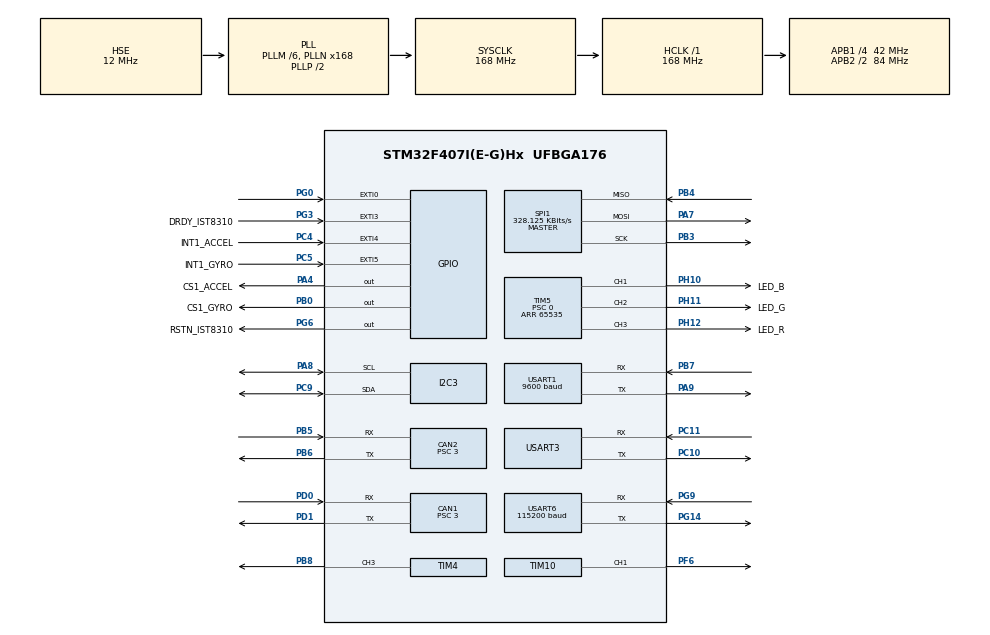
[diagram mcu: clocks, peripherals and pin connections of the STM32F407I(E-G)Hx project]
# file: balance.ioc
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CAN1.BS1=CAN_BS1_10TQ
CAN1.BS2=CAN_BS2_3TQ
CAN1.CalculateBaudRate=1000000
CAN1.CalculateTimeBit=1000
CAN1.CalculateTimeQuantum=71.42857142857143
CAN1.Prescaler=3
CAN2.BS1=CAN_BS1_10TQ
CAN2.BS2=CAN_BS2_3TQ
CAN2.CalculateBaudRate=1000000
CAN2.CalculateTimeBit=1000
CAN2.CalculateTimeQuantum=71.42857142857143
CAN2.Prescaler=3
Dma.Request0=SPI1_RX
Dma.Request1=SPI1_TX
Dma.Request2=USART3_RX
Dma.Request3=USART6_TX
Dma.Request4=USART1_TX
Dma.SPI1_RX.0.Direction=DMA_PERIPH_TO_MEMORY
Dma.SPI1_RX.0.FIFOMode=DMA_FIFOMODE_DISABLE
Dma.SPI1_RX.0.Instance=DMA2_Stream2
Dma.SPI1_RX.0.MemDataAlignment=DMA_MDATAALIGN_BYTE
Dma.SPI1_RX.0.MemInc=DMA_MINC_ENABLE
Dma.SPI1_RX.0.Mode=DMA_NORMAL
Dma.SPI1_RX.0.PeriphDataAlignment=DMA_PDATAALIGN_BYTE
Dma.SPI1_RX.0.PeriphInc=DMA_PINC_DISABLE
Dma.SPI1_RX.0.Priority=DMA_PRIORITY_VERY_HIGH
Dma.SPI1_TX.1.Direction=DMA_MEMORY_TO_PERIPH
Dma.SPI1_TX.1.FIFOMode=DMA_FIFOMODE_DISABLE
Dma.SPI1_TX.1.Instance=DMA2_Stream3
Dma.SPI1_TX.1.MemDataAlignment=DMA_MDATAALIGN_BYTE
Dma.SPI1_TX.1.MemInc=DMA_MINC_ENABLE
Dma.SPI1_TX.1.Mode=DMA_NORMAL
Dma.SPI1_TX.1.PeriphDataAlignment=DMA_PDATAALIGN_BYTE
Dma.SPI1_TX.1.PeriphInc=DMA_PINC_DISABLE
Dma.SPI1_TX.1.Priority=DMA_PRIORITY_HIGH
Dma.USART1_TX.4.Direction=DMA_MEMORY_TO_PERIPH
Dma.USART1_TX.4.FIFOMode=DMA_FIFOMODE_DISABLE
Dma.USART1_TX.4.Instance=DMA2_Stream7
Dma.USART1_TX.4.MemDataAlignment=DMA_MDATAALIGN_BYTE
Dma.USART1_TX.4.MemInc=DMA_MINC_ENABLE
Dma.USART1_TX.4.Mode=DMA_NORMAL
Dma.USART1_TX.4.PeriphDataAlignment=DMA_PDATAALIGN_BYTE
Dma.USART1_TX.4.PeriphInc=DMA_PINC_DISABLE
Dma.USART1_TX.4.Priority=DMA_PRIORITY_LOW
Dma.USART3_RX.2.Direction=DMA_PERIPH_TO_MEMORY
Dma.USART3_RX.2.FIFOMode=DMA_FIFOMODE_DISABLE
Dma.USART3_RX.2.Instance=DMA1_Stream1
Dma.USART3_RX.2.MemDataAlignment=DMA_MDATAALIGN_BYTE
Dma.USART3_RX.2.MemInc=DMA_MINC_ENABLE
Dma.USART3_RX.2.Mode=DMA_NORMAL
Dma.USART3_RX.2.PeriphDataAlignment=DMA_PDATAALIGN_BYTE
Dma.USART3_RX.2.PeriphInc=DMA_PINC_DISABLE
Dma.USART3_RX.2.Priority=DMA_PRIORITY_HIGH
Dma.USART6_TX.3.Direction=DMA_MEMORY_TO_PERIPH
Dma.USART6_TX.3.FIFOMode=DMA_FIFOMODE_DISABLE
Dma.USART6_TX.3.Instance=DMA2_Stream6
Dma.USART6_TX.3.MemDataAlignment=DMA_MDATAALIGN_BYTE
Dma.USART6_TX.3.MemInc=DMA_MINC_ENABLE
Dma.USART6_TX.3.Mode=DMA_NORMAL
Dma.USART6_TX.3.PeriphDataAlignment=DMA_PDATAALIGN_BYTE
Dma.USART6_TX.3.PeriphInc=DMA_PINC_DISABLE
Dma.USART6_TX.3.Priority=DMA_PRIORITY_LOW
FREERTOS.INCLUDE_eTaskGetState=1
FREERTOS.INCLUDE_pcTaskGetTaskName=1
FREERTOS.INCLUDE_uxTaskGetStackHighWaterMark=1
FREERTOS.INCLUDE_vTaskCleanUpResources=1
FREERTOS.INCLUDE_vTaskDelayUntil=1
FREERTOS.INCLUDE_xEventGroupSetBitFromISR=1
FREERTOS.INCLUDE_xQueueGetMutexHolder=1
FREERTOS.INCLUDE_xSemaphoreGetMutexHolder=1
FREERTOS.INCLUDE_xTaskAbortDelay=1
FREERTOS.INCLUDE_xTaskGetCurrentTaskHandle=1
FREERTOS.INCLUDE_xTaskGetHandle=1
FREERTOS.INCLUDE_xTimerPendFunctionCall=1
FREERTOS.Tasks01=test,24,128,test_task,As weak,NULL,Dynamic,NULL,NULL
FREERTOS.configTOTAL_HEAP_SIZE=24576
I2C3.I2C_Mode=I2C_Fast
Mcu.Family=STM32F4
Mcu.Name=STM32F407I(E-G)Hx
Mcu.Package=UFBGA176
NVIC.CAN1_RX0_IRQn=true\:6\:0\:true\:false\:true\:true\:true\:true\:true
NVIC.CAN2_RX0_IRQn=true\:6\:0\:true\:false\:true\:true\:true\:true\:true
NVIC.DMA1_Stream1_IRQn=true\:5\:0\:false\:false\:true\:true\:false\:true\:true
NVIC.DMA2_Stream2_IRQn=true\:5\:0\:true\:false\:false\:true\:false\:true\:true
NVIC.DMA2_Stream3_IRQn=true\:5\:0\:true\:false\:false\:true\:false\:true\:true
NVIC.DMA2_Stream6_IRQn=true\:5\:0\:false\:false\:true\:true\:false\:true\:true
NVIC.DMA2_Stream7_IRQn=true\:5\:0\:false\:false\:true\:true\:false\:true\:true
NVIC.EXTI0_IRQn=true\:6\:0\:true\:false\:true\:true\:true\:true\:true
NVIC.EXTI3_IRQn=true\:5\:0\:true\:false\:true\:true\:true\:true\:true
NVIC.EXTI4_IRQn=true\:5\:0\:true\:false\:true\:true\:true\:true\:true
NVIC.EXTI9_5_IRQn=true\:5\:0\:true\:false\:true\:true\:true\:true\:true
NVIC.PriorityGroup=NVIC_PRIORITYGROUP_4
NVIC.USART1_IRQn=true\:5\:0\:false\:false\:true\:true\:true\:true\:true
NVIC.USART3_IRQn=true\:4\:0\:true\:false\:true\:false\:true\:true\:true
NVIC.USART6_IRQn=true\:5\:0\:false\:false\:true\:true\:true\:true\:true
PA13.Mode=Serial_Wire
PA13.Signal=SYS_JTMS-SWDIO
PA14.Mode=Serial_Wire
PA14.Signal=SYS_JTCK-SWCLK
PA4.GPIO_Label=CS1_ACCEL
PA4.GPIO_PuPd=GPIO_PULLUP
PA4.GPIO_Speed=GPIO_SPEED_FREQ_HIGH
PA4.PinState=GPIO_PIN_SET
PA4.Signal=GPIO_Output
PA7.GPIO_PuPd=GPIO_PULLUP
PA7.Mode=Full_Duplex_Master
PA7.Signal=SPI1_MOSI
PA8.GPIO_Pu=GPIO_PULLUP
PA8.Mode=I2C
PA8.Signal=I2C3_SCL
PA9.Mode=Asynchronous
PA9.Signal=USART1_TX
PB0.GPIO_Label=CS1_GYRO
PB0.GPIO_PuPd=GPIO_PULLUP
PB0.GPIO_Speed=GPIO_SPEED_FREQ_HIGH
PB0.PinState=GPIO_PIN_SET
PB0.Signal=GPIO_Output
PB3.GPIO_PuPd=GPIO_PULLUP
PB3.Mode=Full_Duplex_Master
PB3.Signal=SPI1_SCK
PB4.GPIO_PuPd=GPIO_PULLUP
PB4.Mode=Full_Duplex_Master
PB4.Signal=SPI1_MISO
PB5.Mode=CAN_Activate
PB5.Signal=CAN2_RX
PB6.Mode=CAN_Activate
PB6.Signal=CAN2_TX
PB7.Mode=Asynchronous
PB7.Signal=USART1_RX
PB8.Signal=S_TIM4_CH3
PC10.Mode=Asynchronous
PC10.Signal=USART3_TX
PC11.Mode=Asynchronous
PC11.Signal=USART3_RX
PC4.GPIO_Label=INT1_ACCEL
PC4.GPIO_ModeDefaultEXTI=GPIO_MODE_IT_FALLING
PC4.GPIO_PuPd=GPIO_PULLUP
PC4.Signal=GPXTI4
PC5.GPIO_Label=INT1_GYRO
PC5.GPIO_ModeDefaultEXTI=GPIO_MODE_IT_FALLING
PC5.GPIO_PuPd=GPIO_PULLUP
PC5.Signal=GPXTI5
PC9.GPIO_Pu=GPIO_PULLUP
PC9.Mode=I2C
PC9.Signal=I2C3_SDA
PD0.Mode=CAN_Activate
PD0.Signal=CAN1_RX
PD1.Mode=CAN_Activate
PD1.Signal=CAN1_TX
PF6.GPIO_PuPd=GPIO_PULLUP
PF6.GPIO_Speed=GPIO_SPEED_FREQ_HIGH
PF6.Signal=S_TIM10_CH1
PG0.GPIO_ModeDefaultEXTI=GPIO_MODE_IT_FALLING
PG0.GPIO_PuPd=GPIO_PULLUP
PG0.Signal=GPXTI0
PG14.Mode=Asynchronous
PG14.Signal=USART6_TX
PG3.GPIO_Label=DRDY_IST8310
PG3.GPIO_ModeDefaultEXTI=GPIO_MODE_IT_FALLING
PG3.GPIO_PuPd=GPIO_PULLUP
PG3.Signal=GPXTI3
PG6.GPIO_Label=RSTN_IST8310
PG6.GPIO_PuPd=GPIO_PULLUP
PG6.GPIO_Speed=GPIO_SPEED_FREQ_MEDIUM
PG6.PinState=GPIO_PIN_SET
PG6.Signal=GPIO_Output
PG9.Mode=Asynchronous
PG9.Signal=USART6_RX
PH0-OSC_IN.Mode=HSE-External-Oscillator
PH0-OSC_IN.Signal=RCC_OSC_IN
PH1-OSC_OUT.Mode=HSE-External-Oscillator
PH1-OSC_OUT.Signal=RCC_OSC_OUT
PH10.GPIO_Label=LED_B
PH10.GPIO_PuPd=GPIO_PULLUP
PH10.GPIO_Speed=GPIO_SPEED_FREQ_HIGH
PH10.Signal=S_TIM5_CH1
PH11.GPIO_Label=LED_G
PH11.GPIO_PuPd=GPIO_PULLUP
PH11.GPIO_Speed=GPIO_SPEED_FREQ_HIGH
PH11.Signal=S_TIM5_CH2
PH12.GPIO_Label=LED_R
PH12.GPIO_PuPd=GPIO_PULLUP
PH12.GPIO_Speed=GPIO_SPEED_FREQ_HIGH
PH12.Signal=S_TIM5_CH3
ProjectManager.HeapSize=0x2000
ProjectManager.StackSize=0x2000
ProjectManager.TargetToolchain=MDK-ARM V5
RCC.48MHZClocksFreq_Value=48000000
RCC.AHBFreq_Value=168000000
RCC.APB1CLKDivider=RCC_HCLK_DIV4
RCC.APB1Freq_Value=42000000
RCC.APB1TimFreq_Value=84000000
RCC.APB2CLKDivider=RCC_HCLK_DIV2
RCC.APB2Freq_Value=84000000
RCC.APB2TimFreq_Value=168000000
RCC.CortexFreq_Value=168000000
RCC.HCLKFreq_Value=168000000
RCC.HSE_VALUE=12000000
RCC.HSI_VALUE=16000000
RCC.LSE_VALUE=32768
RCC.PLLM=6
RCC.PLLN=168
RCC.PLLQ=7
RCC.PLLSourceVirtual=RCC_PLLSOURCE_HSE
RCC.RCC_RTC_Clock_SourceVirtual=RCC_RTCCLKSOURCE_HSE_DIV30
RCC.RCC_RTC_Clock_Source_FROM_HSE=RCC_RTCCLKSOURCE_HSE_DIV30
RCC.SYSCLKFreq_VALUE=168000000
RCC.SYSCLKSource=RCC_SYSCLKSOURCE_PLLCLK
RCC.VCOOutputFreq_Value=336000000
SH.S_TIM10_CH1.0=TIM10_CH1,PWM Generation1 CH1
SH.S_TIM4_CH3.0=TIM4_CH3,PWM Generation3 CH3
SH.S_TIM5_CH1.0=TIM5_CH1,PWM Generation1 CH1
SH.S_TIM5_CH2.0=TIM5_CH2,PWM Generation2 CH2
SH.S_TIM5_CH3.0=TIM5_CH3,PWM Generation3 CH3
SPI1.BaudRatePrescaler=SPI_BAUDRATEPRESCALER_256
SPI1.CLKPhase=SPI_PHASE_2EDGE
SPI1.CLKPolarity=SPI_POLARITY_HIGH
SPI1.CalculateBaudRate=328.125 KBits/s
SPI1.Direction=SPI_DIRECTION_2LINES
SPI1.Mode=SPI_MODE_MASTER
SPI1.VirtualType=VM_MASTER
TIM10.Channel=TIM_CHANNEL_1
TIM10.Period=4999
TIM4.Channel-PWM\ Generation3\ CH3=TIM_CHANNEL_3
TIM4.Prescaler=167
TIM5.Channel-PWM\ Generation1\ CH1=TIM_CHANNEL_1
TIM5.Channel-PWM\ Generation2\ CH2=TIM_CHANNEL_2
TIM5.Channel-PWM\ Generation3\ CH3=TIM_CHANNEL_3
TIM5.Period=65535
TIM5.Prescaler=0
USART1.BaudRate=9600
USART1.Mode=MODE_TX
USART1.VirtualMode=VM_ASYNC
USART3.Parity=PARITY_EVEN
USART3.VirtualMode=VM_ASYNC
USART6.BaudRate=115200
USART6.Mode=MODE_TX
USART6.VirtualMode=VM_ASYNC
VP_FREERTOS_VS_CMSIS_V1.Mode=CMSIS_V1
VP_TIM10_VS_ClockSourceINT.Mode=Enable_Timer
VP_TIM4_VS_ClockSourceINT.Mode=Internal
VP_TIM5_VS_ClockSourceINT.Mode=Internal
board=custom

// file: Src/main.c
/* USER CODE BEGIN Header */
/**
  ******************************************************************************
  * @file           : main.c
  * @brief          : Main program body
  ******************************************************************************
  * @attention
  *
  * <h2><center>&copy; Copyright (c) 2019 STMicroelectronics.
  * All rights reserved.</center></h2>
  *
  * This software component is licensed by ST under Ultimate Liberty license
  * SLA0044, the "License"; You may not use this file except in compliance with
  * the License. You may obtain a copy of the License at:
  *                             www.st.com/SLA0044
  *
  ******************************************************************************
  */
/* USER CODE END Header */
#include "main.h"
#include "cmsis_os.h"
#include "can.h"
#include "dma.h"
#include "i2c.h"
#include "spi.h"
#include "tim.h"
#include "usart.h"
#include "gpio.h"

/* USER CODE BEGIN Includes */
#include "bsp_delay.h"
#include "bsp_can.h"
/* USER CODE END Includes */

void SystemClock_Config(void);
void MX_FREERTOS_Init(void);

int main(void)
{

  /* MCU Configuration--------------------------------------------------------*/

  /* Reset of all peripherals, Initializes the Flash interface and the Systick. */
  HAL_Init();

  /* Configure the system clock */
  SystemClock_Config();

  /* Initialize all configured peripherals */
  MX_GPIO_Init();
  MX_DMA_Init();
  MX_SPI1_Init();
  MX_TIM5_Init();
  MX_I2C3_Init();
  MX_TIM10_Init();
  MX_CAN1_Init();
  MX_CAN2_Init();
  MX_USART3_UART_Init();
  MX_TIM4_Init();
  MX_USART6_UART_Init();
  MX_USART1_UART_Init();
  /* USER CODE BEGIN 2 */
    delayInit();
    canFilterInit();
  /* USER CODE END 2 */

  /* Call init function for freertos objects (in freertos.c) */
  MX_FREERTOS_Init();

  /* Start scheduler */
  osKernelStart();

  /* We should never get here as control is now taken by the scheduler */
  /* Infinite loop */
    while (1) {

    }
}

void SystemClock_Config(void)
{
  RCC_OscInitTypeDef RCC_OscInitStruct = {0};
  RCC_ClkInitTypeDef RCC_ClkInitStruct = {0};

  /** Configure the main internal regulator output voltage
  */
  __HAL_RCC_PWR_CLK_ENABLE();
  __HAL_PWR_VOLTAGESCALING_CONFIG(PWR_REGULATOR_VOLTAGE_SCALE1);

  /** Initializes the RCC Oscillators according to the specified parameters
  * in the RCC_OscInitTypeDef structure.
  */
  RCC_OscInitStruct.OscillatorType = RCC_OSCILLATORTYPE_HSE;
  RCC_OscInitStruct.HSEState = RCC_HSE_ON;
  RCC_OscInitStruct.PLL.PLLState = RCC_PLL_ON;
  RCC_OscInitStruct.PLL.PLLSource = RCC_PLLSOURCE_HSE;
  RCC_OscInitStruct.PLL.PLLM = 6;
  RCC_OscInitStruct.PLL.PLLN = 168;
  RCC_OscInitStruct.PLL.PLLP = RCC_PLLP_DIV2;
  RCC_OscInitStruct.PLL.PLLQ = 7;
  if (HAL_RCC_OscConfig(&RCC_OscInitStruct) != HAL_OK)
  {
    Error_Handler();
  }

  /** Initializes the CPU, AHB and APB buses clocks
  */
  RCC_ClkInitStruct.ClockType = RCC_CLOCKTYPE_HCLK|RCC_CLOCKTYPE_SYSCLK
                              |RCC_CLOCKTYPE_PCLK1|RCC_CLOCKTYPE_PCLK2;
  RCC_ClkInitStruct.SYSCLKSource = RCC_SYSCLKSOURCE_PLLCLK;
  RCC_ClkInitStruct.AHBCLKDivider = RCC_SYSCLK_DIV1;
  RCC_ClkInitStruct.APB1CLKDivider = RCC_HCLK_DIV4;
  RCC_ClkInitStruct.APB2CLKDivider = RCC_HCLK_DIV2;

  if (HAL_RCC_ClockConfig(&RCC_ClkInitStruct, FLASH_LATENCY_5) != HAL_OK)
  {
    Error_Handler();
  }
}

void Error_Handler(void)
{
}

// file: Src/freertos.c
/* USER CODE BEGIN Header */
/**
  ******************************************************************************
  * File Name          : freertos.c
  * Description        : Code for freertos applications
  ******************************************************************************
  * @attention
  *
  * <h2><center>&copy; Copyright (c) 2019 STMicroelectronics.
  * All rights reserved.</center></h2>
  *
  * This software component is licensed by ST under Ultimate Liberty license
  * SLA0044, the "License"; You may not use this file except in compliance with
  * the License. You may obtain a copy of the License at:
  *                             www.st.com/SLA0044
  *
  ******************************************************************************
  */
/* USER CODE END Header */

#include "FreeRTOS.h"
#include "task.h"
#include "main.h"
#include "cmsis_os.h"

/* USER CODE BEGIN Includes */

#include "app_ins_task.h"
#include "app_chassis_task.h"
#include "app_debug_plotter_task.h"

/* USER CODE END Includes */

/* USER CODE BEGIN Variables */

osThreadId imu_task_handle;
osThreadId chassis_task_handle;
osThreadId debug_plotter_task_handle;

/* USER CODE END Variables */
osThreadId testHandle;

void test_task(void const * argument);

void MX_FREERTOS_Init(void); /* (MISRA C 2004 rule 8.1) */

/* GetIdleTaskMemory prototype (linked to static allocation support) */
void vApplicationGetIdleTaskMemory( StaticTask_t **ppxIdleTaskTCBBuffer, StackType_t **ppxIdleTaskStackBuffer, uint32_t *pulIdleTaskStackSize );

/* GetTimerTaskMemory prototype (linked to static allocation support) */
void vApplicationGetTimerTaskMemory( StaticTask_t **ppxTimerTaskTCBBuffer, StackType_t **ppxTimerTaskStackBuffer, uint32_t *pulTimerTaskStackSize );

/* USER CODE BEGIN GET_IDLE_TASK_MEMORY */
static StaticTask_t xIdleTaskTCBBuffer;
static StackType_t xIdleStack[configMINIMAL_STACK_SIZE];

void vApplicationGetIdleTaskMemory(StaticTask_t **ppxIdleTaskTCBBuffer, StackType_t **ppxIdleTaskStackBuffer,
                                   uint32_t *pulIdleTaskStackSize) {
    *ppxIdleTaskTCBBuffer = &xIdleTaskTCBBuffer;
    *ppxIdleTaskStackBuffer = &xIdleStack[0];
    *pulIdleTaskStackSize = configMINIMAL_STACK_SIZE;
    /* place for user code */
}
/* USER CODE END GET_IDLE_TASK_MEMORY */

/* USER CODE BEGIN GET_TIMER_TASK_MEMORY */
static StaticTask_t xTimerTaskTCBBuffer;
static StackType_t xTimerStack[configTIMER_TASK_STACK_DEPTH];

void vApplicationGetTimerTaskMemory(StaticTask_t **ppxTimerTaskTCBBuffer, StackType_t **ppxTimerTaskStackBuffer,
                                    uint32_t *pulTimerTaskStackSize) {
    *ppxTimerTaskTCBBuffer = &xTimerTaskTCBBuffer;
    *ppxTimerTaskStackBuffer = &xTimerStack[0];
    *pulTimerTaskStackSize = configTIMER_TASK_STACK_DEPTH;
    /* place for user code */
}
/* USER CODE END GET_TIMER_TASK_MEMORY */

void MX_FREERTOS_Init(void) {

  /* Create the thread(s) */
  /* definition and creation of test */
  osThreadDef(test, test_task, osPriorityNormal, 0, 128);
  testHandle = osThreadCreate(osThread(test), NULL);

  /* USER CODE BEGIN RTOS_THREADS */
    /* add threads, ... */
    osThreadDef(imuTask, INS_task, osPriorityRealtime, 0, 1024);
    imu_task_handle = osThreadCreate(osThread(imuTask), NULL);

    osThreadDef(chassisTask, chassisTask, osPriorityHigh, 0, 1024);
    chassis_task_handle = osThreadCreate(osThread(chassisTask), NULL);

#ifdef USE_DEBUG_PLOTTER
    osThreadDef(debugPlotterTask, debugPlotterTask, osPriorityNormal, 0, 1024);
    debug_plotter_task_handle = osThreadCreate(osThread(debugPlotterTask), NULL);
#endif
  /* USER CODE END RTOS_THREADS */

}

__weak void test_task(void const * argument)
{
    for (;;) {
        osDelay(1);
    }
}
